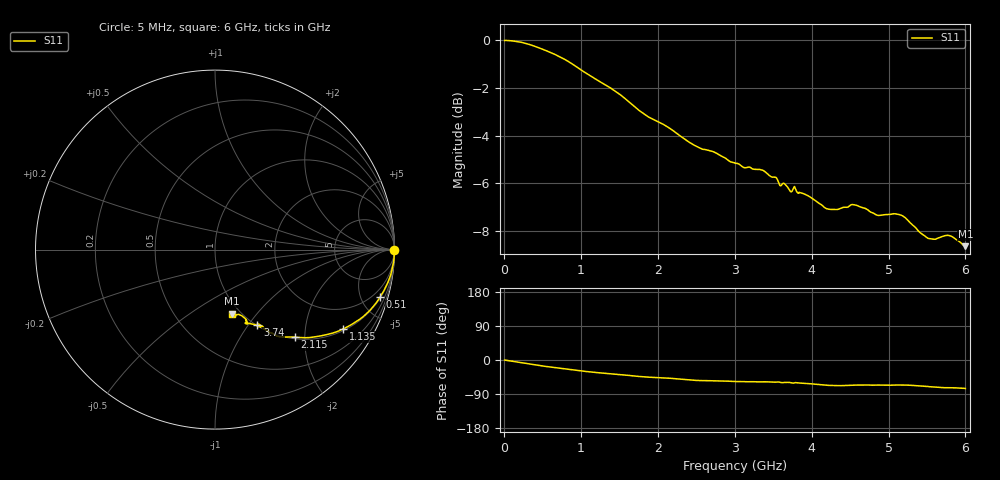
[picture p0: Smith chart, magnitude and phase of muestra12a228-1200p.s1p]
# Hz S RI R 50.000000
! Metas.Vna.Tools, 3.0.9519.15400
! Metas.Vna.Data, 3.0.9519.15360
! Created: UTC 2026.10.24 15:36:32
! FREQ  re:S1,1  im:S1,1
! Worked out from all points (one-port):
!   1200 points, 5 MHz to 6 GHz, reference 50 ohm
!   lowest |S11| = -8.6 dB at 6 GHz (marker M1), VSWR 2.17, Z = 45.6 - j37.8 ohm
!   |S11| at or under -10 dB: nowhere
!   S11 on the Smith chart (normalised r, x): 5 MHz: open; 510 MHz: 1.10, -6.88; 1.135 GHz: 1.06, -3.18; 2.115 GHz: 1.03, -1.79; 3.74 GHz: 1.01, -1.11; 6 GHz: 0.91, -0.76
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5000000  1 -0.00284
2.35e8  0.9811 -0.132
5.1e8  0.919 -0.266
7.55e8  0.8477 -0.3539
9.45e8  0.7804 -0.4054
1.135e9  0.7133 -0.4425
1.505e9  0.6045 -0.4775
1.81e9  0.502 -0.4913
2.115e9  0.4447 -0.4875
2.255e9  0.4095 -0.4869
2.4e9  0.3718 -0.4865
2.53e9  0.3487 -0.4835
2.76e9  0.3338 -0.4742
3.005e9  0.3015 -0.4623
3.395e9  0.2842 -0.4472
3.74e9  0.2364 -0.4196
3.755e9  0.2354 -0.4256
3.8e9  0.2435 -0.4175
3.925e9  0.2244 -0.4179
4.215e9  0.1737 -0.4071
4.36e9  0.1681 -0.4098
4.505e9  0.1774 -0.4146
4.86e9  0.174 -0.3926
5.14e9  0.1756 -0.3934
5.255e9  0.1676 -0.3835
5.515e9  0.1309 -0.3611
5.79e9  0.1127 -0.3727
6e9  0.0954 -0.3574
